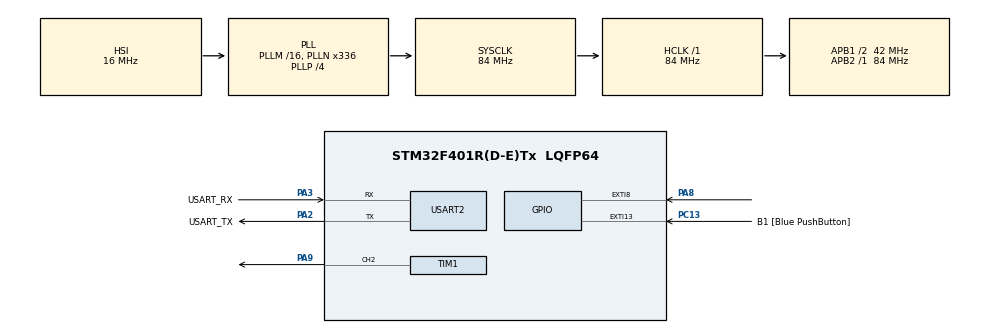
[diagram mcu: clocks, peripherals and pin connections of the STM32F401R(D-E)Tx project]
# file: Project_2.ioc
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Mcu.Family=STM32F4
Mcu.Name=STM32F401R(D-E)Tx
Mcu.Package=LQFP64
NVIC.EXTI9_5_IRQn=true\:1\:0\:true\:false\:true\:true\:true
NVIC.PriorityGroup=NVIC_PRIORITYGROUP_1
PA13.GPIO_Label=TMS
PA13.Mode=Serial_Wire
PA13.Signal=SYS_JTMS-SWDIO
PA14.GPIO_Label=TCK
PA14.Mode=Serial_Wire
PA14.Signal=SYS_JTCK-SWCLK
PA2.GPIO_Label=USART_TX
PA2.GPIO_Mode=GPIO_MODE_AF_PP
PA2.GPIO_PuPd=GPIO_NOPULL
PA2.GPIO_Speed=GPIO_SPEED_FREQ_LOW
PA2.Mode=Asynchronous
PA2.Signal=USART2_TX
PA3.GPIO_Label=USART_RX
PA3.GPIO_Mode=GPIO_MODE_AF_PP
PA3.GPIO_PuPd=GPIO_NOPULL
PA3.GPIO_Speed=GPIO_SPEED_FREQ_LOW
PA3.Mode=Asynchronous
PA3.Signal=USART2_RX
PA8.GPIO_ModeDefaultEXTI=GPIO_MODE_IT_RISING
PA8.Signal=GPXTI8
PA9.Signal=S_TIM1_CH2
PB3.GPIO_Label=SWO
PB3.Signal=SYS_JTDO-SWO
PC13-ANTI_TAMP.GPIO_Label=B1 [Blue PushButton]
PC13-ANTI_TAMP.GPIO_ModeDefaultEXTI=GPIO_MODE_IT_FALLING
PC13-ANTI_TAMP.GPIO_PuPd=GPIO_NOPULL
PC13-ANTI_TAMP.Signal=GPXTI13
PC14-OSC32_IN.Mode=LSE-External-Oscillator
PC14-OSC32_IN.Signal=RCC_OSC32_IN
PC15-OSC32_OUT.Mode=LSE-External-Oscillator
PC15-OSC32_OUT.Signal=RCC_OSC32_OUT
PH0\ -\ OSC_IN.Mode=HSE-External-Clock-Source
PH0\ -\ OSC_IN.Signal=RCC_OSC_IN
PH1\ -\ OSC_OUT.Mode=HSE-External-Clock-Source
PH1\ -\ OSC_OUT.Signal=RCC_OSC_OUT
ProjectManager.HeapSize=0x200
ProjectManager.StackSize=0x400
ProjectManager.TargetToolchain=STM32CubeIDE
RCC.48MHZClocksFreq_Value=48000000
RCC.AHBFreq_Value=84000000
RCC.APB1CLKDivider=RCC_HCLK_DIV2
RCC.APB1Freq_Value=42000000
RCC.APB1TimFreq_Value=84000000
RCC.APB2Freq_Value=84000000
RCC.APB2TimFreq_Value=84000000
RCC.CortexFreq_Value=84000000
RCC.HCLKFreq_Value=84000000
RCC.HSE_VALUE=8000000
RCC.HSI_VALUE=16000000
RCC.PLLN=336
RCC.PLLP=RCC_PLLP_DIV4
RCC.PLLQ=7
RCC.SYSCLKFreq_VALUE=84000000
RCC.SYSCLKSource=RCC_SYSCLKSOURCE_PLLCLK
RCC.VCOOutputFreq_Value=336000000
SH.S_TIM1_CH2.0=TIM1_CH2,PWM Generation2 CH2
TIM1.Channel-PWM\ Generation2\ CH2=TIM_CHANNEL_2
TIM1.Period=1909-1
TIM1.Prescaler=100-1
TIM1.Pulse-PWM\ Generation2\ CH2=954-1
USART2.VirtualMode=VM_ASYNC
VP_TIM1_VS_ClockSourceINT.Mode=Internal
board=NUCLEO-F401RE

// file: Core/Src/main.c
/* USER CODE BEGIN Header */
/**
  ******************************************************************************
  * @file           : main.c
  * @brief          : Main program body
  ******************************************************************************
  * @attention
  *
  * <h2><center>&copy; Copyright (c) 2021 STMicroelectronics.
  * All rights reserved.</center></h2>
  *
  * This software component is licensed by ST under BSD 3-Clause license,
  * the "License"; You may not use this file except in compliance with the
  * License. You may obtain a copy of the License at:
  *                        opensource.org/licenses/BSD-3-Clause
  *
  ******************************************************************************
  */
/* USER CODE END Header */
#include "main.h"

/* USER CODE BEGIN PTD */
struct note{
	int frequency;
	int duration;
};
/* USER CODE END PTD */

/* USER CODE BEGIN PD */
#define TEMPO 175

#define _DO 3206
#define _DOd 3032
#define _RE 2857
#define _REd 2700
#define _MI 2545
#define _FA 2406
#define _FAd 2270
#define _SOL 2142
#define _SOLd 2024
#define _LA 1909
#define _LAd 1802
#define _SI 1700
/* USER CODE END PD */

TIM_HandleTypeDef htim1;

UART_HandleTypeDef huart2;

/* USER CODE BEGIN PV */
struct note song[] = {
		{_MI,2},
		{_FA,3},
		{_MI,1},
		{_SOL,2},
		{_RE,4},
		{_RE,2},
		{_DO,3},
		{_RE,1},
		{_MI,2},
		{_DO,4},
		{_MI,2},
		{_FA,3},
		{_MI,1},
		{_SOL,2},
		{_RE,2},
		{_RE,2},
		{_RE,2},
		{_MI,2},
		{_FA,2},
		{_MI,2},
		{_MI,4},
		{_MI,2},
		{_FA,3},
		{_MI,1},
		{_SOL,2},
		{_RE,4},
		{_RE,2},
		{_DO,3},
		{_RE,1},
		{_MI,2},
		{_DO,4},
		{_MI,2},
		{_FA,3},
		{_MI,1},
		{_SOL,2},
		{_RE,2},
		{_MI,2},
		{_FA,2},
		{_MI,2},
		{_RE,2},
		{_DO,6}
};

void playnote(int frequency, int duration){
	// configure TIMER
	// PWM period
	htim1.Instance = TIM1;
	htim1.Init.Prescaler = 100-1;
	htim1.Init.CounterMode = TIM_COUNTERMODE_UP;
	htim1.Init.Period = frequency-1;
	htim1.Init.ClockDivision = TIM_CLOCKDIVISION_DIV1;
	htim1.Init.RepetitionCounter = 0;
	htim1.Init.AutoReloadPreload = TIM_AUTORELOAD_PRELOAD_DISABLE;
	if (HAL_TIM_Base_Init(&htim1) != HAL_OK)
	{
		Error_Handler();
	}
	// PWM Duty Cycle
	TIM_OC_InitTypeDef sConfigOC = {0};

	sConfigOC.OCMode = TIM_OCMODE_PWM1;
	sConfigOC.Pulse = frequency/2-1;
	sConfigOC.OCPolarity = TIM_OCPOLARITY_HIGH;
	sConfigOC.OCNPolarity = TIM_OCNPOLARITY_HIGH;
	sConfigOC.OCFastMode = TIM_OCFAST_DISABLE;
	sConfigOC.OCIdleState = TIM_OCIDLESTATE_RESET;
	sConfigOC.OCNIdleState = TIM_OCNIDLESTATE_RESET;
	if (HAL_TIM_PWM_ConfigChannel(&htim1, &sConfigOC, TIM_CHANNEL_2) != HAL_OK)
	{
	  Error_Handler();
	}

	// start PWM
	HAL_TIM_PWM_Start(&htim1, TIM_CHANNEL_2);

	// wait for the duration
	HAL_Delay(TEMPO*duration);

	// stop PWM
	HAL_TIM_PWM_Stop(&htim1, TIM_CHANNEL_2);
}

void playsong(){
	int length = sizeof(song)/sizeof(song[0]);
	for(int i=0; i<=length; i++){
		playnote(song[i].frequency, song[i].duration);
	}
}
/* USER CODE END PV */

void SystemClock_Config(void);
static void MX_GPIO_Init(void);
static void MX_USART2_UART_Init(void);
static void MX_TIM1_Init(void);

int main(void)
{

  /* MCU Configuration--------------------------------------------------------*/

  /* Reset of all peripherals, Initializes the Flash interface and the Systick. */
  HAL_Init();

  /* Configure the system clock */
  SystemClock_Config();

  /* Initialize all configured peripherals */
  MX_GPIO_Init();
  MX_USART2_UART_Init();
  MX_TIM1_Init();

  /* Infinite loop */
  while (1)
  {

  }
}

void SystemClock_Config(void)
{
  RCC_OscInitTypeDef RCC_OscInitStruct = {0};
  RCC_ClkInitTypeDef RCC_ClkInitStruct = {0};

  /** Configure the main internal regulator output voltage
  */
  __HAL_RCC_PWR_CLK_ENABLE();
  __HAL_PWR_VOLTAGESCALING_CONFIG(PWR_REGULATOR_VOLTAGE_SCALE2);
  /** Initializes the RCC Oscillators according to the specified parameters
  * in the RCC_OscInitTypeDef structure.
  */
  RCC_OscInitStruct.OscillatorType = RCC_OSCILLATORTYPE_HSI;
  RCC_OscInitStruct.HSIState = RCC_HSI_ON;
  RCC_OscInitStruct.HSICalibrationValue = RCC_HSICALIBRATION_DEFAULT;
  RCC_OscInitStruct.PLL.PLLState = RCC_PLL_ON;
  RCC_OscInitStruct.PLL.PLLSource = RCC_PLLSOURCE_HSI;
  RCC_OscInitStruct.PLL.PLLM = 16;
  RCC_OscInitStruct.PLL.PLLN = 336;
  RCC_OscInitStruct.PLL.PLLP = RCC_PLLP_DIV4;
  RCC_OscInitStruct.PLL.PLLQ = 7;
  if (HAL_RCC_OscConfig(&RCC_OscInitStruct) != HAL_OK)
  {
    Error_Handler();
  }
  /** Initializes the CPU, AHB and APB buses clocks
  */
  RCC_ClkInitStruct.ClockType = RCC_CLOCKTYPE_HCLK|RCC_CLOCKTYPE_SYSCLK
                              |RCC_CLOCKTYPE_PCLK1|RCC_CLOCKTYPE_PCLK2;
  RCC_ClkInitStruct.SYSCLKSource = RCC_SYSCLKSOURCE_PLLCLK;
  RCC_ClkInitStruct.AHBCLKDivider = RCC_SYSCLK_DIV1;
  RCC_ClkInitStruct.APB1CLKDivider = RCC_HCLK_DIV2;
  RCC_ClkInitStruct.APB2CLKDivider = RCC_HCLK_DIV1;

  if (HAL_RCC_ClockConfig(&RCC_ClkInitStruct, FLASH_LATENCY_2) != HAL_OK)
  {
    Error_Handler();
  }
}

static void MX_TIM1_Init(void)
{

  TIM_ClockConfigTypeDef sClockSourceConfig = {0};
  TIM_MasterConfigTypeDef sMasterConfig = {0};
  TIM_OC_InitTypeDef sConfigOC = {0};
  TIM_BreakDeadTimeConfigTypeDef sBreakDeadTimeConfig = {0};

  htim1.Instance = TIM1;
  htim1.Init.Prescaler = 100-1;
  htim1.Init.CounterMode = TIM_COUNTERMODE_UP;
  htim1.Init.Period = 1909-1;
  htim1.Init.ClockDivision = TIM_CLOCKDIVISION_DIV1;
  htim1.Init.RepetitionCounter = 0;
  htim1.Init.AutoReloadPreload = TIM_AUTORELOAD_PRELOAD_DISABLE;
  if (HAL_TIM_Base_Init(&htim1) != HAL_OK)
  {
    Error_Handler();
  }
  sClockSourceConfig.ClockSource = TIM_CLOCKSOURCE_INTERNAL;
  if (HAL_TIM_ConfigClockSource(&htim1, &sClockSourceConfig) != HAL_OK)
  {
    Error_Handler();
  }
  if (HAL_TIM_PWM_Init(&htim1) != HAL_OK)
  {
    Error_Handler();
  }
  sMasterConfig.MasterOutputTrigger = TIM_TRGO_RESET;
  sMasterConfig.MasterSlaveMode = TIM_MASTERSLAVEMODE_DISABLE;
  if (HAL_TIMEx_MasterConfigSynchronization(&htim1, &sMasterConfig) != HAL_OK)
  {
    Error_Handler();
  }
  sConfigOC.OCMode = TIM_OCMODE_PWM1;
  sConfigOC.Pulse = 954-1;
  sConfigOC.OCPolarity = TIM_OCPOLARITY_HIGH;
  sConfigOC.OCNPolarity = TIM_OCNPOLARITY_HIGH;
  sConfigOC.OCFastMode = TIM_OCFAST_DISABLE;
  sConfigOC.OCIdleState = TIM_OCIDLESTATE_RESET;
  sConfigOC.OCNIdleState = TIM_OCNIDLESTATE_RESET;
  if (HAL_TIM_PWM_ConfigChannel(&htim1, &sConfigOC, TIM_CHANNEL_2) != HAL_OK)
  {
    Error_Handler();
  }
  sBreakDeadTimeConfig.OffStateRunMode = TIM_OSSR_DISABLE;
  sBreakDeadTimeConfig.OffStateIDLEMode = TIM_OSSI_DISABLE;
  sBreakDeadTimeConfig.LockLevel = TIM_LOCKLEVEL_OFF;
  sBreakDeadTimeConfig.DeadTime = 0;
  sBreakDeadTimeConfig.BreakState = TIM_BREAK_DISABLE;
  sBreakDeadTimeConfig.BreakPolarity = TIM_BREAKPOLARITY_HIGH;
  sBreakDeadTimeConfig.AutomaticOutput = TIM_AUTOMATICOUTPUT_DISABLE;
  if (HAL_TIMEx_ConfigBreakDeadTime(&htim1, &sBreakDeadTimeConfig) != HAL_OK)
  {
    Error_Handler();
  }
  HAL_TIM_MspPostInit(&htim1);

}

static void MX_USART2_UART_Init(void)
{

  huart2.Instance = USART2;
  huart2.Init.BaudRate = 115200;
  huart2.Init.WordLength = UART_WORDLENGTH_8B;
  huart2.Init.StopBits = UART_STOPBITS_1;
  huart2.Init.Parity = UART_PARITY_NONE;
  huart2.Init.Mode = UART_MODE_TX_RX;
  huart2.Init.HwFlowCtl = UART_HWCONTROL_NONE;
  huart2.Init.OverSampling = UART_OVERSAMPLING_16;
  if (HAL_UART_Init(&huart2) != HAL_OK)
  {
    Error_Handler();
  }

}

static void MX_GPIO_Init(void)
{
  GPIO_InitTypeDef GPIO_InitStruct = {0};

  /* GPIO Ports Clock Enable */
  __HAL_RCC_GPIOC_CLK_ENABLE();
  __HAL_RCC_GPIOH_CLK_ENABLE();
  __HAL_RCC_GPIOA_CLK_ENABLE();
  __HAL_RCC_GPIOB_CLK_ENABLE();

  /*Configure GPIO pin : B1_Pin */
  GPIO_InitStruct.Pin = B1_Pin;
  GPIO_InitStruct.Mode = GPIO_MODE_IT_FALLING;
  GPIO_InitStruct.Pull = GPIO_NOPULL;
  HAL_GPIO_Init(B1_GPIO_Port, &GPIO_InitStruct);

  /*Configure GPIO pin : PA8 */
  GPIO_InitStruct.Pin = GPIO_PIN_8;
  GPIO_InitStruct.Mode = GPIO_MODE_IT_RISING;
  GPIO_InitStruct.Pull = GPIO_NOPULL;
  HAL_GPIO_Init(GPIOA, &GPIO_InitStruct);

  /* EXTI interrupt init*/
  HAL_NVIC_SetPriority(EXTI9_5_IRQn, 1, 0);
  HAL_NVIC_EnableIRQ(EXTI9_5_IRQn);

}

/* USER CODE BEGIN 4 */
__weak void HAL_GPIO_EXTI_Callback(uint16_t GPIO_Pin)
{
	switch(GPIO_Pin){
	case GPIO_PIN_8:
		playsong();
	    __HAL_GPIO_EXTI_CLEAR_IT(GPIO_Pin);
		break;
	default:
		break;
	}
}
/* USER CODE END 4 */

void Error_Handler(void)
{
}

/************************ (C) COPYRIGHT STMicroelectronics *****END OF FILE****/
